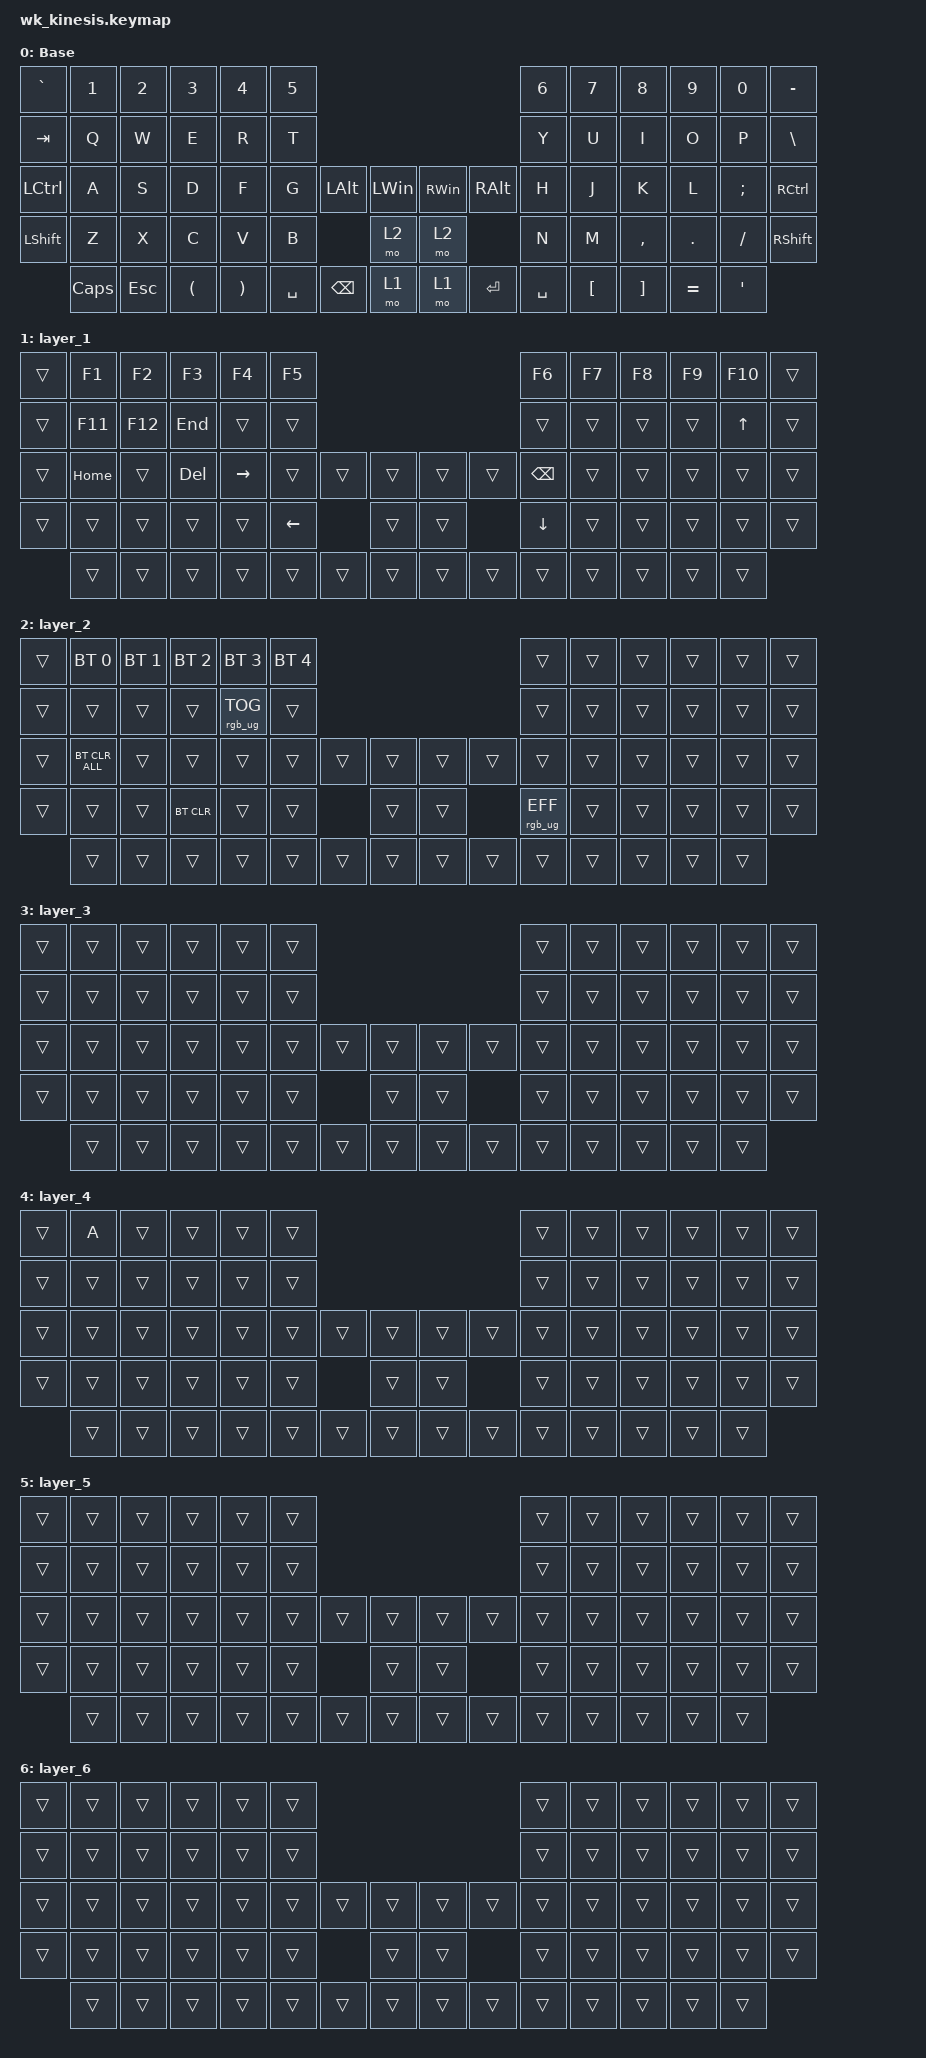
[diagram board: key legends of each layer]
#include <dt-bindings/zmk/mouse.h>
#include <behaviors.dtsi>
#include <dt-bindings/zmk/bt.h>
#include <dt-bindings/zmk/keys.h>
#include <dt-bindings/zmk/rgb.h>

/ {
    behaviors {
        hm: homerow_mods {
            compatible = "zmk,behavior-hold-tap";
            label = "HOMEROW_MODS";
            #binding-cells = <2>;
            tapping-term-ms = <200>;
            quick_tap_ms = <175>;
            flavor = "tap-preferred";
            bindings = <&kp>, <&kp>;
        };
    };

    keymap {
        compatible = "zmk,keymap";

        default_layer {
            display-name = "Base";
            bindings = <
&kp GRAVE         &kp N1        &kp N2      &kp N3    &kp N4    &kp N5                                                                              &kp N6  &kp N7            &kp N8             &kp N9     &kp N0    &kp MINUS
&kp TAB           &kp Q         &kp W       &kp E     &kp R     &kp T                                                                               &kp Y   &kp U             &kp I              &kp O      &kp P     &kp BSLH
&kp LEFT_CONTROL  &kp A         &kp S       &kp D     &kp F     &kp G              &kp LEFT_ALT   &kp LEFT_WIN      &kp RWIN  &kp RALT              &kp H   &kp J             &kp K              &kp L      &kp SEMI  &kp RIGHT_CONTROL
&kp LSHFT         &kp Z         &kp X       &kp C     &kp V     &kp B                             &mo 2             &mo 2                           &kp N   &kp M             &kp COMMA          &kp DOT    &kp FSLH  &kp RSHFT
                  &kp CAPSLOCK  &kp ESCAPE  &kp LPAR  &kp RPAR          &kp SPACE  &kp BACKSPACE  &mo 1             &mo 1     &kp ENTER  &kp SPACE          &kp LEFT_BRACKET  &kp RIGHT_BRACKET  &kp EQUAL  &kp APOS
            >;
        };

        layer_1 {
            bindings = <
&trans  &kp F1    &kp F2   &kp F3      &kp F4           &kp F5                                                              &kp F6          &kp F7  &kp F8  &kp F9  &kp F10       &trans
&trans  &kp F11   &kp F12  &kp END     &trans           &trans                                                              &trans          &trans  &trans  &trans  &kp UP_ARROW  &trans
&trans  &kp HOME  &trans   &kp DELETE  &kp RIGHT_ARROW  &trans                  &trans  &trans      &trans  &trans          &kp BACKSPACE   &trans  &trans  &trans  &trans        &trans
&trans  &trans    &trans   &trans      &trans           &kp LEFT_ARROW                  &trans      &trans                  &kp DOWN_ARROW  &trans  &trans  &trans  &trans        &trans
        &trans    &trans   &trans      &trans                           &trans  &trans  &trans      &trans  &trans  &trans                  &trans  &trans  &trans  &trans
            >;
        };

        layer_2 {
            bindings = <
&trans  &bt BT_SEL 0    &bt BT_SEL 1  &bt BT_SEL 2  &bt BT_SEL 3     &bt BT_SEL 4                                                      &trans           &trans  &trans  &trans  &trans  &trans
&trans  &trans          &trans        &trans        &rgb_ug RGB_TOG  &trans                                                            &trans           &trans  &trans  &trans  &trans  &trans
&trans  &bt BT_CLR_ALL  &trans        &trans        &trans           &trans                &trans  &trans      &trans  &trans          &trans           &trans  &trans  &trans  &trans  &trans
&trans  &trans          &trans        &bt BT_CLR    &trans           &trans                        &trans      &trans                  &rgb_ug RGB_EFF  &trans  &trans  &trans  &trans  &trans
        &trans          &trans        &trans        &trans                         &trans  &trans  &trans      &trans  &trans  &trans                   &trans  &trans  &trans  &trans
            >;
        };

        layer_3 {
            bindings = <
&trans  &trans  &trans  &trans  &trans  &trans                                                      &trans  &trans  &trans  &trans  &trans  &trans
&trans  &trans  &trans  &trans  &trans  &trans                                                      &trans  &trans  &trans  &trans  &trans  &trans
&trans  &trans  &trans  &trans  &trans  &trans          &trans  &trans      &trans  &trans          &trans  &trans  &trans  &trans  &trans  &trans
&trans  &trans  &trans  &trans  &trans  &trans                  &trans      &trans                  &trans  &trans  &trans  &trans  &trans  &trans
        &trans  &trans  &trans  &trans          &trans  &trans  &trans      &trans  &trans  &trans          &trans  &trans  &trans  &trans
            >;
        };

        layer_4 {
            bindings = <
&trans  &kp A   &trans  &trans  &trans  &trans                                                      &trans  &trans  &trans  &trans  &trans  &trans
&trans  &trans  &trans  &trans  &trans  &trans                                                      &trans  &trans  &trans  &trans  &trans  &trans
&trans  &trans  &trans  &trans  &trans  &trans          &trans  &trans      &trans  &trans          &trans  &trans  &trans  &trans  &trans  &trans
&trans  &trans  &trans  &trans  &trans  &trans                  &trans      &trans                  &trans  &trans  &trans  &trans  &trans  &trans
        &trans  &trans  &trans  &trans          &trans  &trans  &trans      &trans  &trans  &trans          &trans  &trans  &trans  &trans
            >;
        };

        layer_5 {
            bindings = <
&trans  &trans  &trans  &trans  &trans  &trans                                                      &trans  &trans  &trans  &trans  &trans  &trans
&trans  &trans  &trans  &trans  &trans  &trans                                                      &trans  &trans  &trans  &trans  &trans  &trans
&trans  &trans  &trans  &trans  &trans  &trans          &trans  &trans      &trans  &trans          &trans  &trans  &trans  &trans  &trans  &trans
&trans  &trans  &trans  &trans  &trans  &trans                  &trans      &trans                  &trans  &trans  &trans  &trans  &trans  &trans
        &trans  &trans  &trans  &trans          &trans  &trans  &trans      &trans  &trans  &trans          &trans  &trans  &trans  &trans
            >;
        };

        layer_6 {
            bindings = <
&trans  &trans  &trans  &trans  &trans  &trans                                                      &trans  &trans  &trans  &trans  &trans  &trans
&trans  &trans  &trans  &trans  &trans  &trans                                                      &trans  &trans  &trans  &trans  &trans  &trans
&trans  &trans  &trans  &trans  &trans  &trans          &trans  &trans      &trans  &trans          &trans  &trans  &trans  &trans  &trans  &trans
&trans  &trans  &trans  &trans  &trans  &trans                  &trans      &trans                  &trans  &trans  &trans  &trans  &trans  &trans
        &trans  &trans  &trans  &trans          &trans  &trans  &trans      &trans  &trans  &trans          &trans  &trans  &trans  &trans
            >;
        };
    };
};
